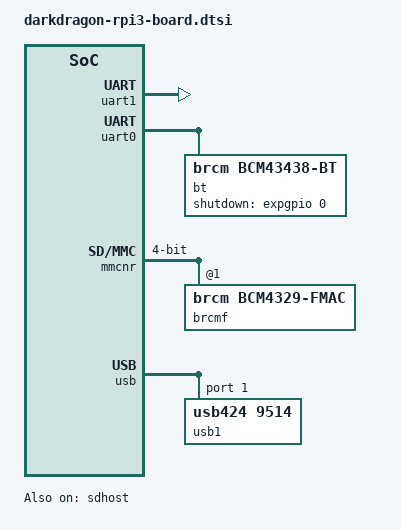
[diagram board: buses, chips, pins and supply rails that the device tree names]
/*
 * Project-owned board-level wiring for DarkDragon Raspberry Pi 3 custom board.
 *
 * This file is where board-specific routing and peripheral composition live.
 * Keeping it local avoids depending on upstream Raspberry Pi board fragments.
 */

/ {
	aliases {
		ethernet0 = &ethernet;
		serial0 = &uart1;
		serial1 = &uart0;
		mmc1 = &mmcnr;
	};

	__overrides__ {
		krnbt = <&bt>,"status";
		krnbt_baudrate = <&bt>,"max-speed:0";
	};
};

&gpio {
	gpio-line-names = "ID_SDA",
			  "ID_SCL",
			  "SDA1",
			  "SCL1",
			  "GPIO_GCLK",
			  "GPIO5",
			  "GPIO6",
			  "SPI_CE1_N",
			  "SPI_CE0_N",
			  "SPI_MISO",
			  "SPI_MOSI",
			  "SPI_SCLK",
			  "GPIO12",
			  "GPIO13",
			  "TXD1",
			  "RXD1",
			  "GPIO16",
			  "GPIO17",
			  "GPIO18",
			  "GPIO19",
			  "GPIO20",
			  "GPIO21",
			  "GPIO22",
			  "GPIO23",
			  "GPIO24",
			  "GPIO25",
			  "GPIO26",
			  "GPIO27",
			  "NC",
			  "LAN_RUN_BOOT",
			  "CTS0",
			  "RTS0",
			  "TXD0",
			  "RXD0",
			  "SD1_CLK",
			  "SD1_CMD",
			  "SD1_DATA0",
			  "SD1_DATA1",
			  "SD1_DATA2",
			  "SD1_DATA3",
			  "PWM0_OUT",
			  "PWM1_OUT",
			  "ETH_CLK",
			  "WIFI_CLK",
			  "SDA0",
			  "SCL0",
			  "SMPS_SCL",
			  "SMPS_SDA",
			  "SD_CLK_R",
			  "SD_CMD_R",
			  "SD_DATA0_R",
			  "SD_DATA1_R",
			  "SD_DATA2_R",
			  "SD_DATA3_R";

	spi0_pins: spi0_pins {
		brcm,pins = <9 10 11>;
		brcm,function = <4>;
	};

	spi0_cs_pins: spi0_cs_pins {
		brcm,pins = <8 7>;
		brcm,function = <1>;
	};

	i2c0_pins: i2c0 {
		brcm,pins = <0 1>;
		brcm,function = <4>;
	};

	i2c1_pins: i2c1 {
		brcm,pins = <2 3>;
		brcm,function = <4>;
	};

	i2s_pins: i2s {
		brcm,pins = <18 19 20 21>;
		brcm,function = <4>;
	};

	sdio_pins: sdio_pins {
		brcm,pins = <34 35 36 37 38 39>;
		brcm,function = <7>;
		brcm,pull = <0 2 2 2 2 2>;
	};

	bt_pins: bt_pins {
		brcm,pins = <43>;
		brcm,function = <4>;
		brcm,pull = <0>;
	};

	uart0_pins: uart0_pins {
		brcm,pins = <32 33>;
		brcm,function = <7>;
		brcm,pull = <0 2>;
	};

	uart1_pins: uart1_pins {
		brcm,pins;
		brcm,function;
		brcm,pull;
	};
};

&soc {
	virtgpio: virtgpio {
		compatible = "brcm,bcm2835-virtgpio";
		gpio-controller;
		#gpio-cells = <2>;
		firmware = <&firmware>;
		status = "okay";
	};
};

&firmware {
	expgpio: expgpio {
		compatible = "raspberrypi,firmware-gpio";
		gpio-controller;
		#gpio-cells = <2>;
		gpio-line-names = "BT_ON",
				  "WL_ON",
				  "STATUS_LED",
				  "LAN_RUN",
				  "HDMI_HPD_N",
				  "CAM_GPIO0",
				  "CAM_GPIO1",
				  "PWR_LOW_N";
		status = "okay";
	};
};

&uart1 {
	pinctrl-names = "default";
	pinctrl-0 = <&uart1_pins>;
	status = "okay";

	minibt: bluetooth {
		compatible = "brcm,bcm43438-bt";
		max-speed = <460800>;
		shutdown-gpios = <&expgpio 0 GPIO_ACTIVE_HIGH>;
		status = "disabled";
	};
};

&uart0 {
	pinctrl-names = "default";
	pinctrl-0 = <&uart0_pins &bt_pins>;
	status = "okay";

	bt: bluetooth {
		compatible = "brcm,bcm43438-bt";
		max-speed = <921600>;
		shutdown-gpios = <&expgpio 0 GPIO_ACTIVE_HIGH>;
		status = "okay";
	};
};

&mmcnr {
	pinctrl-names = "default";
	pinctrl-0 = <&sdio_pins>;
	bus-width = <4>;
	status = "okay";
	#address-cells = <1>;
	#size-cells = <0>;

	brcmf: wifi@1 {
		reg = <1>;
		compatible = "brcm,bcm4329-fmac";
	};
};

&sdhost {
	status = "okay";
};

&csi1 {
	brcm,num-data-lanes = <2>;
};

&i2c0mux {
	pinctrl-0 = <&i2c0_gpio0>;
	pinctrl-1 = <&i2c0_gpio44>;
};

&usb {
	usb1@1 {
		compatible = "usb424,9514";
		reg = <1>;
		#address-cells = <1>;
		#size-cells = <0>;

		ethernet: usbether@1 {
			compatible = "usb424,ec00";
			reg = <1>;
		};
	};
};
